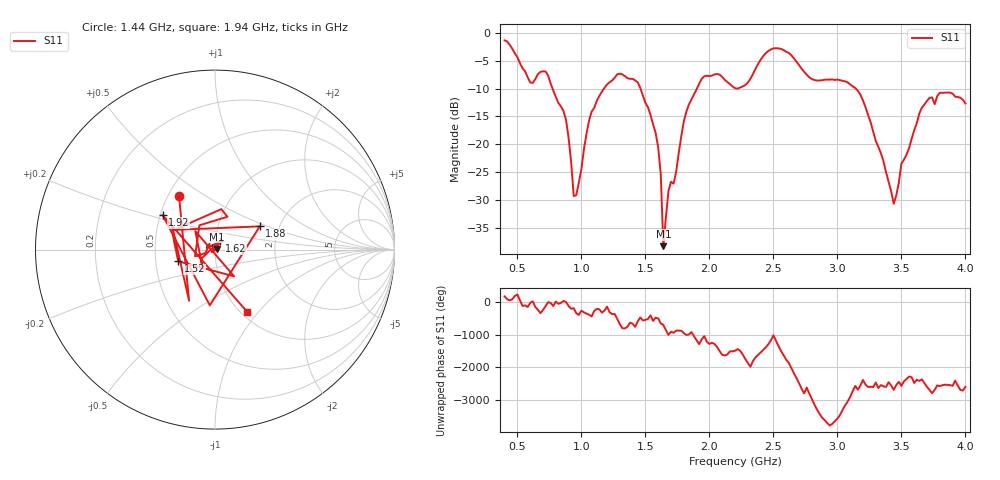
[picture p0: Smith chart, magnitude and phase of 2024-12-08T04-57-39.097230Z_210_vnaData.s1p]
!Created with skrf (http://scikit-rf.org).
# Hz S RI R 50.0
!freq ReS11 ImS11
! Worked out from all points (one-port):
!   181 points, 400 MHz to 4 GHz, reference 50 ohm
!   lowest |S11| = -38.3 dB at 1.64 GHz (marker M1), VSWR 1.02, Z = 51.2 + j0.296 ohm
!   |S11| at or under -10 dB: 774.6 MHz to 1.176 GHz (401.6 MHz wide, 41.2 % of centre); 1.462 GHz to 1.902 GHz (440.8 MHz wide, 26.2 % of centre); 3.144 GHz to end of sweep (the widest 3 of 4)
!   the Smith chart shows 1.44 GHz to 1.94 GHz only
!   S11 on the Smith chart (normalised r, x): 1.44 GHz: 0.57, +0.39; 1.52 GHz: 0.66, -0.09; 1.62 GHz: 1.05, +0.10; 1.88 GHz: 1.59, +0.45; 1.92 GHz: 0.51, +0.23; 1.94 GHz: 1.07, -0.87
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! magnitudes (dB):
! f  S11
! 400 MHz  -1.3
! 600 MHz  -8.9
! 720 MHz  -6.9
! 860 MHz  -14.0
! 900 MHz  -18.9
! 940 MHz  -29.3
! 960 MHz  -29.1
! 1.08 GHz  -14.1
! 1.3 GHz  -7.3
! 1.44 GHz  -8.9
! 1.52 GHz  -13.3
! 1.58 GHz  -18.0
! 1.62 GHz  -25.4
! 1.64 GHz  -38.3
! 1.68 GHz  -28.4
! 1.76 GHz  -21.7
! 1.88 GHz  -11.0
! 1.92 GHz  -9.1
! 1.94 GHz  -8.2
! 2.2 GHz  -9.9
! 2.48 GHz  -3.0
! 2.66 GHz  -4.5
! 3.1 GHz  -9.3
! 3.22 GHz  -13.4
! 3.44 GHz  -30.7
! 3.56 GHz  -20.7
! 3.72 GHz  -11.7
! 4 GHz  -12.7
